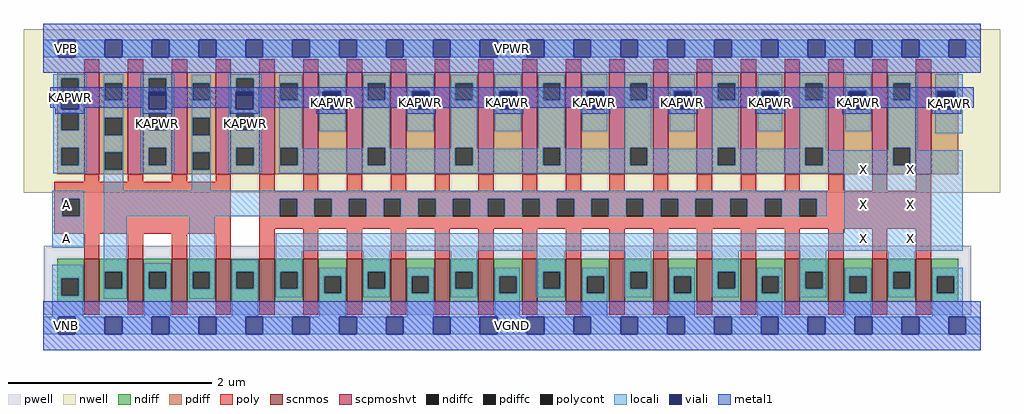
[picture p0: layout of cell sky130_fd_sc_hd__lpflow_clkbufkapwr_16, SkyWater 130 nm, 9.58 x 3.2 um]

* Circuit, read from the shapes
.subckt sky130_fd_sc_hd__lpflow_clkbufkapwr_16 A KAPWR VGND VNB VPB VPWR X
XM1 n1 A VGND VNB sky130_fd_pr__nfet_01v8 w=0.42 l=0.15 m=4
XM2 X n1 VGND VNB sky130_fd_pr__nfet_01v8 w=0.42 l=0.15 m=16
XM3 n1 A KAPWR VPB sky130_fd_pr__pfet_01v8_hvt w=1 l=0.15 m=4
XM4 X n1 KAPWR VPB sky130_fd_pr__pfet_01v8_hvt w=1 l=0.15 m=16
.ends

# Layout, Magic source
magic
tech sky130A
magscale 1 2
<< nwell >>
rect -38 261 1878 582
<< pwell >>
rect 1 21 1822 157
rect 29 -17 63 21
<< scnmos >>
rect 80 47 110 131
rect 166 47 196 131
rect 252 47 282 131
rect 338 47 368 131
rect 424 47 454 131
rect 510 47 540 131
rect 596 47 626 131
rect 682 47 712 131
rect 768 47 798 131
rect 854 47 884 131
rect 940 47 970 131
rect 1026 47 1056 131
rect 1111 47 1141 131
rect 1197 47 1227 131
rect 1283 47 1313 131
rect 1369 47 1399 131
rect 1455 47 1485 131
rect 1541 47 1571 131
rect 1627 47 1657 131
rect 1713 47 1743 131
<< scpmoshvt >>
rect 80 297 110 497
rect 166 297 196 497
rect 252 297 282 497
rect 338 297 368 497
rect 424 297 454 497
rect 510 297 540 497
rect 596 297 626 497
rect 682 297 712 497
rect 768 297 798 497
rect 854 297 884 497
rect 940 297 970 497
rect 1026 297 1056 497
rect 1111 297 1141 497
rect 1197 297 1227 497
rect 1283 297 1313 497
rect 1369 297 1399 497
rect 1455 297 1485 497
rect 1541 297 1571 497
rect 1627 297 1657 497
rect 1713 297 1743 497
<< ndiff >>
rect 27 93 80 131
rect 27 59 35 93
rect 69 59 80 93
rect 27 47 80 59
rect 110 106 166 131
rect 110 72 121 106
rect 155 72 166 106
rect 110 47 166 72
rect 196 106 252 131
rect 196 72 207 106
rect 241 72 252 106
rect 196 47 252 72
rect 282 106 338 131
rect 282 72 293 106
rect 327 72 338 106
rect 282 47 338 72
rect 368 106 424 131
rect 368 72 379 106
rect 413 72 424 106
rect 368 47 424 72
rect 454 106 510 131
rect 454 72 465 106
rect 499 72 510 106
rect 454 47 510 72
rect 540 97 596 131
rect 540 63 551 97
rect 585 63 596 97
rect 540 47 596 63
rect 626 106 682 131
rect 626 72 637 106
rect 671 72 682 106
rect 626 47 682 72
rect 712 97 768 131
rect 712 63 723 97
rect 757 63 768 97
rect 712 47 768 63
rect 798 106 854 131
rect 798 72 809 106
rect 843 72 854 106
rect 798 47 854 72
rect 884 97 940 131
rect 884 63 895 97
rect 929 63 940 97
rect 884 47 940 63
rect 970 106 1026 131
rect 970 72 981 106
rect 1015 72 1026 106
rect 970 47 1026 72
rect 1056 97 1111 131
rect 1056 63 1067 97
rect 1101 63 1111 97
rect 1056 47 1111 63
rect 1141 106 1197 131
rect 1141 72 1152 106
rect 1186 72 1197 106
rect 1141 47 1197 72
rect 1227 97 1283 131
rect 1227 63 1238 97
rect 1272 63 1283 97
rect 1227 47 1283 63
rect 1313 106 1369 131
rect 1313 72 1324 106
rect 1358 72 1369 106
rect 1313 47 1369 72
rect 1399 97 1455 131
rect 1399 63 1410 97
rect 1444 63 1455 97
rect 1399 47 1455 63
rect 1485 106 1541 131
rect 1485 72 1496 106
rect 1530 72 1541 106
rect 1485 47 1541 72
rect 1571 97 1627 131
rect 1571 63 1582 97
rect 1616 63 1627 97
rect 1571 47 1627 63
rect 1657 106 1713 131
rect 1657 72 1668 106
rect 1702 72 1713 106
rect 1657 47 1713 72
rect 1743 97 1796 131
rect 1743 63 1754 97
rect 1788 63 1796 97
rect 1743 47 1796 63
<< pdiff >>
rect 27 485 80 497
rect 27 451 35 485
rect 69 451 80 485
rect 27 417 80 451
rect 27 383 35 417
rect 69 383 80 417
rect 27 349 80 383
rect 27 315 35 349
rect 69 315 80 349
rect 27 297 80 315
rect 110 476 166 497
rect 110 442 121 476
rect 155 442 166 476
rect 110 408 166 442
rect 110 374 121 408
rect 155 374 166 408
rect 110 340 166 374
rect 110 306 121 340
rect 155 306 166 340
rect 110 297 166 306
rect 196 485 252 497
rect 196 451 207 485
rect 241 451 252 485
rect 196 417 252 451
rect 196 383 207 417
rect 241 383 252 417
rect 196 349 252 383
rect 196 315 207 349
rect 241 315 252 349
rect 196 297 252 315
rect 282 476 338 497
rect 282 442 293 476
rect 327 442 338 476
rect 282 408 338 442
rect 282 374 293 408
rect 327 374 338 408
rect 282 340 338 374
rect 282 306 293 340
rect 327 306 338 340
rect 282 297 338 306
rect 368 485 424 497
rect 368 451 379 485
rect 413 451 424 485
rect 368 417 424 451
rect 368 383 379 417
rect 413 383 424 417
rect 368 349 424 383
rect 368 315 379 349
rect 413 315 424 349
rect 368 297 424 315
rect 454 476 510 497
rect 454 442 465 476
rect 499 442 510 476
rect 454 349 510 442
rect 454 315 465 349
rect 499 315 510 349
rect 454 297 510 315
rect 540 461 596 497
rect 540 427 551 461
rect 585 427 596 461
rect 540 297 596 427
rect 626 476 682 497
rect 626 442 637 476
rect 671 442 682 476
rect 626 349 682 442
rect 626 315 637 349
rect 671 315 682 349
rect 626 297 682 315
rect 712 461 768 497
rect 712 427 723 461
rect 757 427 768 461
rect 712 297 768 427
rect 798 476 854 497
rect 798 442 809 476
rect 843 442 854 476
rect 798 349 854 442
rect 798 315 809 349
rect 843 315 854 349
rect 798 297 854 315
rect 884 461 940 497
rect 884 427 895 461
rect 929 427 940 461
rect 884 297 940 427
rect 970 476 1026 497
rect 970 442 981 476
rect 1015 442 1026 476
rect 970 349 1026 442
rect 970 315 981 349
rect 1015 315 1026 349
rect 970 297 1026 315
rect 1056 461 1111 497
rect 1056 427 1067 461
rect 1101 427 1111 461
rect 1056 297 1111 427
rect 1141 476 1197 497
rect 1141 442 1152 476
rect 1186 442 1197 476
rect 1141 349 1197 442
rect 1141 315 1152 349
rect 1186 315 1197 349
rect 1141 297 1197 315
rect 1227 461 1283 497
rect 1227 427 1238 461
rect 1272 427 1283 461
rect 1227 297 1283 427
rect 1313 476 1369 497
rect 1313 442 1324 476
rect 1358 442 1369 476
rect 1313 349 1369 442
rect 1313 315 1324 349
rect 1358 315 1369 349
rect 1313 297 1369 315
rect 1399 461 1455 497
rect 1399 427 1410 461
rect 1444 427 1455 461
rect 1399 297 1455 427
rect 1485 476 1541 497
rect 1485 442 1496 476
rect 1530 442 1541 476
rect 1485 349 1541 442
rect 1485 315 1496 349
rect 1530 315 1541 349
rect 1485 297 1541 315
rect 1571 461 1627 497
rect 1571 427 1582 461
rect 1616 427 1627 461
rect 1571 297 1627 427
rect 1657 476 1713 497
rect 1657 442 1668 476
rect 1702 442 1713 476
rect 1657 349 1713 442
rect 1657 315 1668 349
rect 1702 315 1713 349
rect 1657 297 1713 315
rect 1743 461 1796 497
rect 1743 427 1754 461
rect 1788 427 1796 461
rect 1743 297 1796 427
<< ndiffc >>
rect 35 59 69 93
rect 121 72 155 106
rect 207 72 241 106
rect 293 72 327 106
rect 379 72 413 106
rect 465 72 499 106
rect 551 63 585 97
rect 637 72 671 106
rect 723 63 757 97
rect 809 72 843 106
rect 895 63 929 97
rect 981 72 1015 106
rect 1067 63 1101 97
rect 1152 72 1186 106
rect 1238 63 1272 97
rect 1324 72 1358 106
rect 1410 63 1444 97
rect 1496 72 1530 106
rect 1582 63 1616 97
rect 1668 72 1702 106
rect 1754 63 1788 97
<< pdiffc >>
rect 35 451 69 485
rect 35 383 69 417
rect 35 315 69 349
rect 121 442 155 476
rect 121 374 155 408
rect 121 306 155 340
rect 207 451 241 485
rect 207 383 241 417
rect 207 315 241 349
rect 293 442 327 476
rect 293 374 327 408
rect 293 306 327 340
rect 379 451 413 485
rect 379 383 413 417
rect 379 315 413 349
rect 465 442 499 476
rect 465 315 499 349
rect 551 427 585 461
rect 637 442 671 476
rect 637 315 671 349
rect 723 427 757 461
rect 809 442 843 476
rect 809 315 843 349
rect 895 427 929 461
rect 981 442 1015 476
rect 981 315 1015 349
rect 1067 427 1101 461
rect 1152 442 1186 476
rect 1152 315 1186 349
rect 1238 427 1272 461
rect 1324 442 1358 476
rect 1324 315 1358 349
rect 1410 427 1444 461
rect 1496 442 1530 476
rect 1496 315 1530 349
rect 1582 427 1616 461
rect 1668 442 1702 476
rect 1668 315 1702 349
rect 1754 427 1788 461
<< poly >>
rect 80 497 110 523
rect 166 497 196 523
rect 252 497 282 523
rect 338 497 368 523
rect 424 497 454 523
rect 510 497 540 523
rect 596 497 626 523
rect 682 497 712 523
rect 768 497 798 523
rect 854 497 884 523
rect 940 497 970 523
rect 1026 497 1056 523
rect 1111 497 1141 523
rect 1197 497 1227 523
rect 1283 497 1313 523
rect 1369 497 1399 523
rect 1455 497 1485 523
rect 1541 497 1571 523
rect 1627 497 1657 523
rect 1713 497 1743 523
rect 80 282 110 297
rect 166 282 196 297
rect 252 282 282 297
rect 338 282 368 297
rect 21 249 368 282
rect 21 215 37 249
rect 71 215 368 249
rect 21 180 368 215
rect 80 131 110 180
rect 166 131 196 180
rect 252 131 282 180
rect 338 131 368 180
rect 424 265 454 297
rect 510 265 540 297
rect 596 265 626 297
rect 682 265 712 297
rect 768 265 798 297
rect 854 265 884 297
rect 940 265 970 297
rect 1026 265 1056 297
rect 1111 265 1141 297
rect 1197 265 1227 297
rect 1283 265 1313 297
rect 1369 265 1399 297
rect 1455 265 1485 297
rect 1541 265 1571 297
rect 1627 265 1657 297
rect 1713 265 1743 297
rect 424 249 1743 265
rect 424 215 464 249
rect 498 215 532 249
rect 566 215 600 249
rect 634 215 668 249
rect 702 215 736 249
rect 770 215 804 249
rect 838 215 872 249
rect 906 215 940 249
rect 974 215 1008 249
rect 1042 215 1076 249
rect 1110 215 1144 249
rect 1178 215 1212 249
rect 1246 215 1280 249
rect 1314 215 1348 249
rect 1382 215 1416 249
rect 1450 215 1484 249
rect 1518 215 1743 249
rect 424 190 1743 215
rect 424 131 454 190
rect 510 131 540 190
rect 596 131 626 190
rect 682 131 712 190
rect 768 131 798 190
rect 854 131 884 190
rect 940 131 970 190
rect 1026 131 1056 190
rect 1111 131 1141 190
rect 1197 131 1227 190
rect 1283 131 1313 190
rect 1369 131 1399 190
rect 1455 131 1485 190
rect 1541 131 1571 190
rect 1627 131 1657 190
rect 1713 131 1743 190
rect 80 21 110 47
rect 166 21 196 47
rect 252 21 282 47
rect 338 21 368 47
rect 424 21 454 47
rect 510 21 540 47
rect 596 21 626 47
rect 682 21 712 47
rect 768 21 798 47
rect 854 21 884 47
rect 940 21 970 47
rect 1026 21 1056 47
rect 1111 21 1141 47
rect 1197 21 1227 47
rect 1283 21 1313 47
rect 1369 21 1399 47
rect 1455 21 1485 47
rect 1541 21 1571 47
rect 1627 21 1657 47
rect 1713 21 1743 47
<< polycont >>
rect 37 215 71 249
rect 464 215 498 249
rect 532 215 566 249
rect 600 215 634 249
rect 668 215 702 249
rect 736 215 770 249
rect 804 215 838 249
rect 872 215 906 249
rect 940 215 974 249
rect 1008 215 1042 249
rect 1076 215 1110 249
rect 1144 215 1178 249
rect 1212 215 1246 249
rect 1280 215 1314 249
rect 1348 215 1382 249
rect 1416 215 1450 249
rect 1484 215 1518 249
<< locali >>
rect 0 527 29 561
rect 63 527 121 561
rect 155 527 213 561
rect 247 527 305 561
rect 339 527 397 561
rect 431 527 489 561
rect 523 527 581 561
rect 615 527 673 561
rect 707 527 765 561
rect 799 527 857 561
rect 891 527 949 561
rect 983 527 1041 561
rect 1075 527 1133 561
rect 1167 527 1225 561
rect 1259 527 1317 561
rect 1351 527 1409 561
rect 1443 527 1501 561
rect 1535 527 1593 561
rect 1627 527 1685 561
rect 1719 527 1777 561
rect 1811 527 1840 561
rect 19 485 85 493
rect 19 425 35 485
rect 69 425 85 485
rect 19 417 85 425
rect 19 383 35 417
rect 69 383 85 417
rect 19 349 85 383
rect 19 315 35 349
rect 69 315 85 349
rect 19 299 85 315
rect 119 476 157 493
rect 119 442 121 476
rect 155 442 157 476
rect 119 408 157 442
rect 119 374 121 408
rect 155 374 157 408
rect 119 340 157 374
rect 119 306 121 340
rect 155 306 157 340
rect 119 265 157 306
rect 191 485 257 493
rect 191 425 207 485
rect 241 425 257 485
rect 191 417 257 425
rect 191 383 207 417
rect 241 383 257 417
rect 191 349 257 383
rect 191 315 207 349
rect 241 315 257 349
rect 191 299 257 315
rect 291 476 329 492
rect 291 442 293 476
rect 327 442 329 476
rect 291 408 329 442
rect 291 374 293 408
rect 327 374 329 408
rect 291 340 329 374
rect 291 306 293 340
rect 327 306 329 340
rect 291 265 329 306
rect 363 485 429 493
rect 363 459 379 485
rect 363 425 378 459
rect 413 451 429 485
rect 412 425 429 451
rect 363 417 429 425
rect 363 383 379 417
rect 413 383 429 417
rect 363 349 429 383
rect 363 315 379 349
rect 413 315 429 349
rect 363 299 429 315
rect 463 476 508 492
rect 463 442 465 476
rect 499 442 508 476
rect 463 349 508 442
rect 542 461 594 493
rect 542 459 551 461
rect 542 425 548 459
rect 585 427 594 461
rect 582 425 594 427
rect 542 381 594 425
rect 628 476 680 492
rect 628 442 637 476
rect 671 442 680 476
rect 463 315 465 349
rect 499 347 508 349
rect 628 349 680 442
rect 714 461 766 493
rect 714 427 723 461
rect 757 459 766 461
rect 714 425 724 427
rect 758 425 766 459
rect 714 381 766 425
rect 800 476 852 492
rect 800 442 809 476
rect 843 442 852 476
rect 628 347 637 349
rect 499 315 637 347
rect 671 347 680 349
rect 800 349 852 442
rect 886 461 938 493
rect 886 427 895 461
rect 929 459 938 461
rect 886 425 896 427
rect 930 425 938 459
rect 886 381 938 425
rect 972 476 1024 492
rect 972 442 981 476
rect 1015 442 1024 476
rect 800 347 809 349
rect 671 315 809 347
rect 843 347 852 349
rect 972 349 1024 442
rect 1058 461 1107 493
rect 1058 425 1067 461
rect 1101 425 1107 461
rect 1058 381 1107 425
rect 1141 476 1193 492
rect 1141 442 1152 476
rect 1186 442 1193 476
rect 972 347 981 349
rect 843 315 981 347
rect 1015 347 1024 349
rect 1141 349 1193 442
rect 1230 461 1279 493
rect 1230 427 1238 461
rect 1272 459 1279 461
rect 1230 425 1239 427
rect 1273 425 1279 459
rect 1230 381 1279 425
rect 1313 476 1365 492
rect 1313 442 1324 476
rect 1358 442 1365 476
rect 1141 347 1152 349
rect 1015 315 1152 347
rect 1186 347 1193 349
rect 1313 349 1365 442
rect 1402 461 1451 493
rect 1402 425 1410 461
rect 1444 425 1451 461
rect 1402 381 1451 425
rect 1485 476 1537 492
rect 1485 442 1496 476
rect 1530 442 1537 476
rect 1313 347 1324 349
rect 1186 315 1324 347
rect 1358 347 1365 349
rect 1485 349 1537 442
rect 1574 461 1625 493
rect 1574 459 1582 461
rect 1574 425 1580 459
rect 1616 427 1625 461
rect 1614 425 1625 427
rect 1574 381 1625 425
rect 1659 476 1717 492
rect 1659 442 1668 476
rect 1702 442 1717 476
rect 1485 347 1496 349
rect 1358 315 1496 347
rect 1530 344 1537 349
rect 1659 349 1717 442
rect 1751 461 1805 493
rect 1751 427 1754 461
rect 1788 459 1805 461
rect 1751 425 1756 427
rect 1790 425 1805 459
rect 1751 378 1805 425
rect 1659 344 1668 349
rect 1530 315 1668 344
rect 1702 344 1717 349
rect 1702 315 1805 344
rect 463 299 1805 315
rect 17 249 80 265
rect 17 215 37 249
rect 71 215 80 249
rect 17 153 80 215
rect 119 249 1538 265
rect 119 215 464 249
rect 498 215 532 249
rect 566 215 600 249
rect 634 215 668 249
rect 702 215 736 249
rect 770 215 804 249
rect 838 215 872 249
rect 906 215 940 249
rect 974 215 1008 249
rect 1042 215 1076 249
rect 1110 215 1144 249
rect 1178 215 1212 249
rect 1246 215 1280 249
rect 1314 215 1348 249
rect 1382 215 1416 249
rect 1450 215 1484 249
rect 1518 215 1538 249
rect 17 93 78 119
rect 17 59 35 93
rect 69 59 78 93
rect 17 17 78 59
rect 119 106 164 215
rect 119 72 121 106
rect 155 72 164 106
rect 119 53 164 72
rect 198 106 250 122
rect 198 72 207 106
rect 241 72 250 106
rect 198 17 250 72
rect 286 106 336 215
rect 1572 181 1805 299
rect 456 147 1805 181
rect 286 72 293 106
rect 327 72 336 106
rect 286 53 336 72
rect 370 106 422 129
rect 370 72 379 106
rect 413 72 422 106
rect 370 17 422 72
rect 456 106 508 147
rect 456 72 465 106
rect 499 72 508 106
rect 456 56 508 72
rect 542 97 594 113
rect 542 63 551 97
rect 585 63 594 97
rect 542 17 594 63
rect 628 106 680 147
rect 628 72 637 106
rect 671 72 680 106
rect 628 56 680 72
rect 714 97 766 113
rect 714 63 723 97
rect 757 63 766 97
rect 714 17 766 63
rect 800 106 852 147
rect 800 72 809 106
rect 843 72 852 106
rect 800 56 852 72
rect 886 97 935 113
rect 886 63 895 97
rect 929 63 935 97
rect 886 17 935 63
rect 969 106 1024 147
rect 969 72 981 106
rect 1015 72 1024 106
rect 969 56 1024 72
rect 1058 97 1107 113
rect 1058 63 1067 97
rect 1101 63 1107 97
rect 1058 17 1107 63
rect 1141 106 1193 147
rect 1141 72 1152 106
rect 1186 72 1193 106
rect 1141 56 1193 72
rect 1229 97 1279 113
rect 1229 63 1238 97
rect 1272 63 1279 97
rect 1229 17 1279 63
rect 1313 106 1365 147
rect 1313 72 1324 106
rect 1358 72 1365 106
rect 1313 56 1365 72
rect 1401 97 1451 113
rect 1401 63 1410 97
rect 1444 63 1451 97
rect 1401 17 1451 63
rect 1485 106 1537 147
rect 1485 72 1496 106
rect 1530 72 1537 106
rect 1485 56 1537 72
rect 1573 97 1625 113
rect 1573 63 1582 97
rect 1616 63 1625 97
rect 1573 17 1625 63
rect 1659 106 1711 147
rect 1659 72 1668 106
rect 1702 72 1711 106
rect 1659 56 1711 72
rect 1745 97 1805 113
rect 1745 63 1754 97
rect 1788 63 1805 97
rect 1745 17 1805 63
rect 0 -17 29 17
rect 63 -17 121 17
rect 155 -17 213 17
rect 247 -17 305 17
rect 339 -17 397 17
rect 431 -17 489 17
rect 523 -17 581 17
rect 615 -17 673 17
rect 707 -17 765 17
rect 799 -17 857 17
rect 891 -17 949 17
rect 983 -17 1041 17
rect 1075 -17 1133 17
rect 1167 -17 1225 17
rect 1259 -17 1317 17
rect 1351 -17 1409 17
rect 1443 -17 1501 17
rect 1535 -17 1593 17
rect 1627 -17 1685 17
rect 1719 -17 1777 17
rect 1811 -17 1840 17
<< viali >>
rect 29 527 63 561
rect 121 527 155 561
rect 213 527 247 561
rect 305 527 339 561
rect 397 527 431 561
rect 489 527 523 561
rect 581 527 615 561
rect 673 527 707 561
rect 765 527 799 561
rect 857 527 891 561
rect 949 527 983 561
rect 1041 527 1075 561
rect 1133 527 1167 561
rect 1225 527 1259 561
rect 1317 527 1351 561
rect 1409 527 1443 561
rect 1501 527 1535 561
rect 1593 527 1627 561
rect 1685 527 1719 561
rect 1777 527 1811 561
rect 35 451 69 459
rect 35 425 69 451
rect 207 451 241 459
rect 207 425 241 451
rect 378 451 379 459
rect 379 451 412 459
rect 378 425 412 451
rect 548 427 551 459
rect 551 427 582 459
rect 548 425 582 427
rect 724 427 757 459
rect 757 427 758 459
rect 724 425 758 427
rect 896 427 929 459
rect 929 427 930 459
rect 896 425 930 427
rect 1067 427 1101 459
rect 1067 425 1101 427
rect 1239 427 1272 459
rect 1272 427 1273 459
rect 1239 425 1273 427
rect 1410 427 1444 459
rect 1410 425 1444 427
rect 1580 427 1582 459
rect 1582 427 1614 459
rect 1580 425 1614 427
rect 1756 427 1788 459
rect 1788 427 1790 459
rect 1756 425 1790 427
rect 29 -17 63 17
rect 121 -17 155 17
rect 213 -17 247 17
rect 305 -17 339 17
rect 397 -17 431 17
rect 489 -17 523 17
rect 581 -17 615 17
rect 673 -17 707 17
rect 765 -17 799 17
rect 857 -17 891 17
rect 949 -17 983 17
rect 1041 -17 1075 17
rect 1133 -17 1167 17
rect 1225 -17 1259 17
rect 1317 -17 1351 17
rect 1409 -17 1443 17
rect 1501 -17 1535 17
rect 1593 -17 1627 17
rect 1685 -17 1719 17
rect 1777 -17 1811 17
<< metal1 >>
rect 0 561 1840 592
rect 0 527 29 561
rect 63 527 121 561
rect 155 527 213 561
rect 247 527 305 561
rect 339 527 397 561
rect 431 527 489 561
rect 523 527 581 561
rect 615 527 673 561
rect 707 527 765 561
rect 799 527 857 561
rect 891 527 949 561
rect 983 527 1041 561
rect 1075 527 1133 561
rect 1167 527 1225 561
rect 1259 527 1317 561
rect 1351 527 1409 561
rect 1443 527 1501 561
rect 1535 527 1593 561
rect 1627 527 1685 561
rect 1719 527 1777 561
rect 1811 527 1840 561
rect 0 496 1840 527
rect 14 459 1826 468
rect 14 428 35 459
rect 23 425 35 428
rect 69 428 207 459
rect 69 425 81 428
rect 23 416 81 425
rect 195 425 207 428
rect 241 428 378 459
rect 241 425 253 428
rect 195 416 253 425
rect 366 425 378 428
rect 412 428 548 459
rect 412 425 424 428
rect 366 416 424 425
rect 536 425 548 428
rect 582 428 724 459
rect 582 425 594 428
rect 536 416 594 425
rect 712 425 724 428
rect 758 428 896 459
rect 758 425 770 428
rect 712 416 770 425
rect 884 425 896 428
rect 930 428 1067 459
rect 930 425 942 428
rect 884 416 942 425
rect 1055 425 1067 428
rect 1101 428 1239 459
rect 1101 425 1113 428
rect 1055 416 1113 425
rect 1227 425 1239 428
rect 1273 428 1410 459
rect 1273 425 1285 428
rect 1227 416 1285 425
rect 1398 425 1410 428
rect 1444 428 1580 459
rect 1444 425 1456 428
rect 1398 416 1456 425
rect 1568 425 1580 428
rect 1614 428 1756 459
rect 1614 425 1626 428
rect 1568 416 1626 425
rect 1744 425 1756 428
rect 1790 428 1826 459
rect 1790 425 1802 428
rect 1744 416 1802 425
rect 0 17 1840 48
rect 0 -17 29 17
rect 63 -17 121 17
rect 155 -17 213 17
rect 247 -17 305 17
rect 339 -17 397 17
rect 431 -17 489 17
rect 523 -17 581 17
rect 615 -17 673 17
rect 707 -17 765 17
rect 799 -17 857 17
rect 891 -17 949 17
rect 983 -17 1041 17
rect 1075 -17 1133 17
rect 1167 -17 1225 17
rect 1259 -17 1317 17
rect 1351 -17 1409 17
rect 1443 -17 1501 17
rect 1535 -17 1593 17
rect 1627 -17 1685 17
rect 1719 -17 1777 17
rect 1811 -17 1840 17
rect 0 -48 1840 -17
<< labels >>
flabel locali s 1593 289 1627 323 0 FreeSans 200 0 0 0 X
port 7 nsew signal output
flabel locali s 1685 289 1719 323 0 FreeSans 200 0 0 0 X
port 7 nsew signal output
flabel locali s 1685 221 1719 255 0 FreeSans 200 0 0 0 X
port 7 nsew signal output
flabel locali s 1593 221 1627 255 0 FreeSans 200 0 0 0 X
port 7 nsew signal output
flabel locali s 1593 153 1627 187 0 FreeSans 200 0 0 0 X
port 7 nsew signal output
flabel locali s 1685 153 1719 187 0 FreeSans 200 0 0 0 X
port 7 nsew signal output
flabel locali s 29 153 63 187 0 FreeSans 200 0 0 0 A
port 1 nsew signal input
flabel locali s 29 221 63 255 0 FreeSans 200 0 0 0 A
port 1 nsew signal input
flabel pwell s 29 -17 63 17 0 FreeSans 200 0 0 0 VNB
port 4 nsew ground bidirectional
flabel pwell s 46 0 46 0 0 FreeSans 200 0 0 0 VNB
flabel nwell s 29 527 63 561 0 FreeSans 200 0 0 0 VPB
port 5 nsew power bidirectional
flabel nwell s 46 544 46 544 0 FreeSans 200 0 0 0 VPB
flabel metal1 s 28 428 77 468 0 FreeSans 200 0 0 0 KAPWR
port 2 nsew power bidirectional abutment
flabel metal1 s 29 -17 63 17 0 FreeSans 200 0 0 0 VGND
port 3 nsew ground bidirectional abutment
flabel metal1 s 29 527 63 561 0 FreeSans 200 0 0 0 VPWR
port 6 nsew power bidirectional abutment
rlabel comment s 0 0 0 0 4 lpflow_clkbufkapwr_16
rlabel locali s 191 299 257 493 1 KAPWR
port 2 nsew power bidirectional abutment
rlabel locali s 363 299 429 493 1 KAPWR
port 2 nsew power bidirectional abutment
rlabel locali s 542 381 594 493 1 KAPWR
port 2 nsew power bidirectional abutment
rlabel locali s 714 381 766 493 1 KAPWR
port 2 nsew power bidirectional abutment
rlabel locali s 886 381 938 493 1 KAPWR
port 2 nsew power bidirectional abutment
rlabel locali s 1058 381 1107 493 1 KAPWR
port 2 nsew power bidirectional abutment
rlabel locali s 1230 381 1279 493 1 KAPWR
port 2 nsew power bidirectional abutment
rlabel locali s 1402 381 1451 493 1 KAPWR
port 2 nsew power bidirectional abutment
rlabel locali s 1574 381 1625 493 1 KAPWR
port 2 nsew power bidirectional abutment
rlabel locali s 1751 378 1805 493 1 KAPWR
port 2 nsew power bidirectional abutment
rlabel metal1 s 1744 416 1802 428 1 KAPWR
port 2 nsew power bidirectional abutment
rlabel metal1 s 1568 416 1626 428 1 KAPWR
port 2 nsew power bidirectional abutment
rlabel metal1 s 1398 416 1456 428 1 KAPWR
port 2 nsew power bidirectional abutment
rlabel metal1 s 1227 416 1285 428 1 KAPWR
port 2 nsew power bidirectional abutment
rlabel metal1 s 1055 416 1113 428 1 KAPWR
port 2 nsew power bidirectional abutment
rlabel metal1 s 884 416 942 428 1 KAPWR
port 2 nsew power bidirectional abutment
rlabel metal1 s 712 416 770 428 1 KAPWR
port 2 nsew power bidirectional abutment
rlabel metal1 s 536 416 594 428 1 KAPWR
port 2 nsew power bidirectional abutment
rlabel metal1 s 366 416 424 428 1 KAPWR
port 2 nsew power bidirectional abutment
rlabel metal1 s 195 416 253 428 1 KAPWR
port 2 nsew power bidirectional abutment
rlabel metal1 s 23 416 81 428 1 KAPWR
port 2 nsew power bidirectional abutment
rlabel metal1 s 14 428 1826 468 1 KAPWR
port 2 nsew power bidirectional abutment
rlabel metal1 s 0 -48 1840 48 1 VGND
port 3 nsew ground bidirectional abutment
rlabel metal1 s 0 496 1840 592 1 VPWR
port 6 nsew power bidirectional abutment
<< properties >>
string FIXED_BBOX 0 0 1840 544
string GDS_END 2276556
string GDS_FILE $PDKPATH/libs.ref/sky130_fd_sc_hd/gds/sky130_fd_sc_hd.gds
string GDS_START 2261950
string LEFclass CORE
string LEFsite unithd
string LEFsymmetry X Y R90
<< end >>
